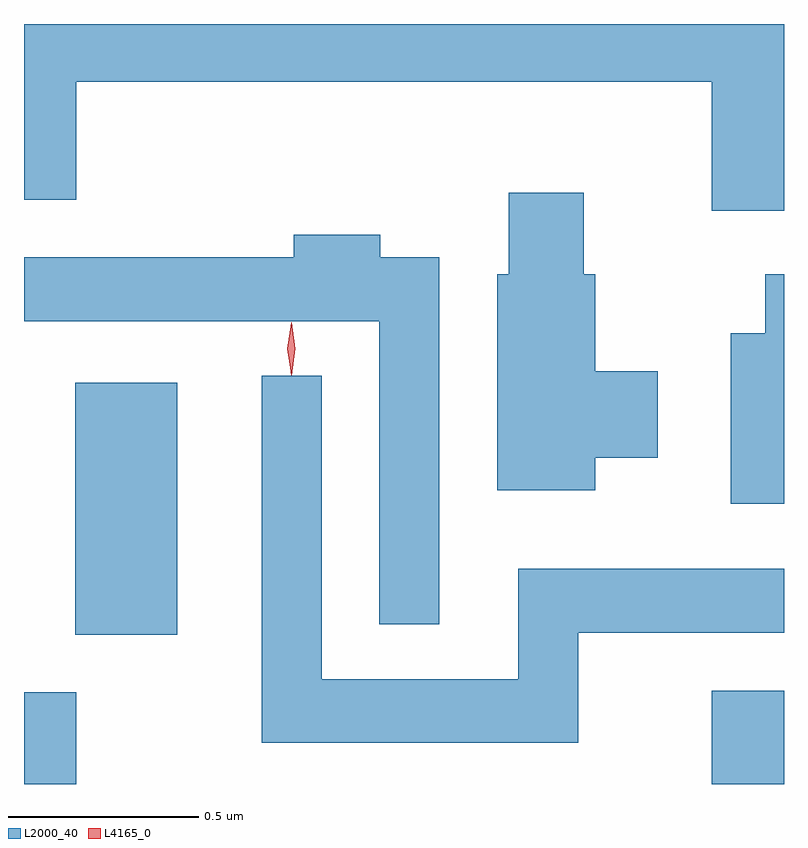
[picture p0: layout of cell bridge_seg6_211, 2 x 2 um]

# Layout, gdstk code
import gdstk
lib = gdstk.Library(unit=1e-6, precision=1e-09)
def R(c, l, rs):  # rectangles x0, y0, x1, y1
    for r in rs: c.add(gdstk.rectangle(r[:2], r[2:], *l))
def P(c, l, *ps):  # polygons
    for p in ps: c.add(gdstk.Polygon(p, *l))
L2000_40 = (2000, 40)
L4165_0 = (4165, 0)

bridge_seg6_211 = lib.new_cell('bridge_seg6_211')
R(bridge_seg6_211, L2000_40, [(1079.451,1581.488,1079.589,1581.729), (1081.261,1581.488,1081.451,1581.734), (1079.586,1581.881,1079.854,1582.544)])
P(bridge_seg6_211, L2000_40, [(1081.451,1583.488),(1079.451,1583.488),(1079.451,1583.026),(1079.589,1583.026),(1079.589,1583.336),(1081.261,1583.336),(1081.261,1582.996),(1081.451,1582.996)],
  [(1080.954,1582.346),(1081.119,1582.346),(1081.119,1582.574),(1080.954,1582.574),(1080.954,1582.829),(1080.924,1582.829),(1080.924,1583.044),(1080.726,1583.044),(1080.726,1582.829),(1080.696,1582.829),(1080.696,1582.261),(1080.954,1582.261)],
  [(1080.544,1582.874),(1080.389,1582.874),(1080.389,1582.934),(1080.161,1582.934),(1080.161,1582.874),(1079.451,1582.874),(1079.451,1582.706),(1080.386,1582.706),(1080.386,1581.908),(1080.544,1581.908)],
  [(1081.451,1582.829),(1081.401,1582.829),(1081.401,1582.674),(1081.311,1582.674),(1081.311,1582.226),(1081.451,1582.226)],
  [(1080.909,1581.886),(1081.451,1581.886),(1081.451,1582.054),(1080.751,1582.054),(1080.751,1581.764),(1080.234,1581.764),(1080.234,1582.563),(1080.076,1582.563),(1080.076,1581.596),(1080.909,1581.596)])
P(bridge_seg6_211, L4165_0, [(1080.154,1582.567),(1080.154,1582.568),(1080.144,1582.634),(1080.154,1582.7),(1080.154,1582.701),(1080.154,1582.7),(1080.164,1582.634),(1080.154,1582.568)],
  [(1080.154,1582.564),(1080.145,1582.634),(1080.154,1582.702),(1080.155,1582.703),(1080.156,1582.702),(1080.165,1582.634),(1080.156,1582.564),(1080.155,1582.564)])

lib.write_gds('bridge_seg6_211.gds')
